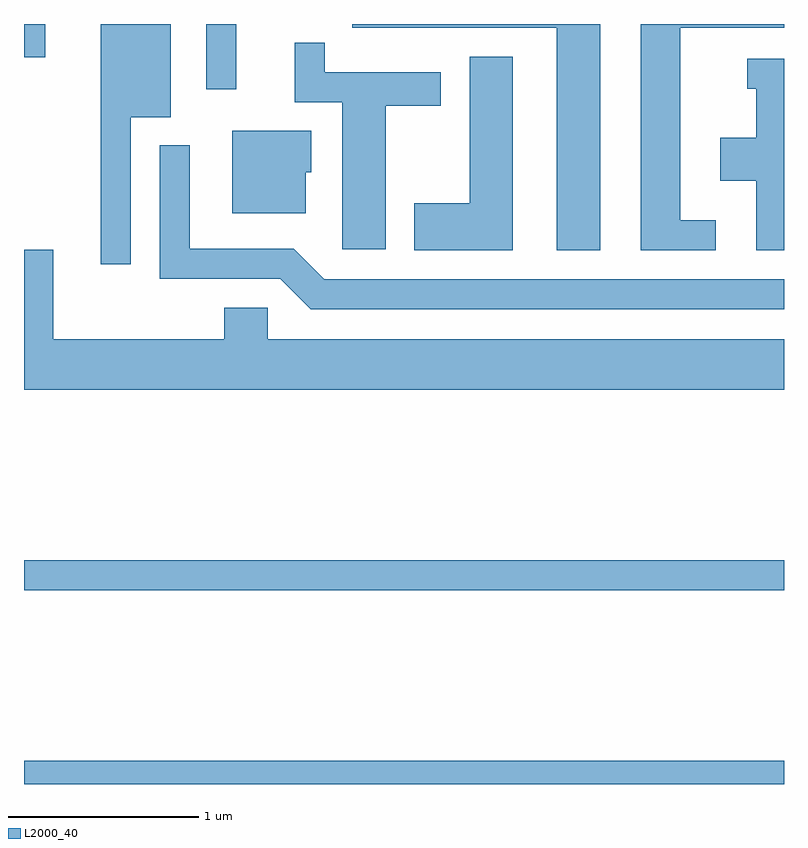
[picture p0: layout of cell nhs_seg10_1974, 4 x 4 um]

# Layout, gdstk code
import gdstk
lib = gdstk.Library(unit=1e-6, precision=1e-09)
def R(c, l, rs):  # rectangles x0, y0, x1, y1
    for r in rs: c.add(gdstk.rectangle(r[:2], r[2:], *l))
def P(c, l, *ps):  # polygons
    for p in ps: c.add(gdstk.Polygon(p, *l))
L2000_40 = (2000, 40)

nhs_seg10_1974 = lib.new_cell('nhs_seg10_1974')
R(nhs_seg10_1974, L2000_40, [(243.611,2098.522,247.611,2098.644), (243.611,2099.541,247.611,2099.699), (244.571,2102.178,244.729,2102.522), (243.611,2102.348,243.724,2102.522)])
P(nhs_seg10_1974, L2000_40, [(244.174,2102.031),(244.384,2102.031),(244.384,2102.522),(244.016,2102.522),(244.016,2101.258),(244.174,2101.258)],
  [(246.644,2102.522),(245.338,2102.522),(245.338,2102.501),(246.416,2102.501),(246.416,2101.331),(246.644,2101.331)],
  [(247.253,2101.489),(247.064,2101.489),(247.064,2102.501),(247.611,2102.501),(247.611,2102.522),(246.856,2102.522),(246.856,2101.331),(247.253,2101.331)],
  [(245.514,2102.091),(245.804,2102.091),(245.804,2102.269),(245.194,2102.269),(245.194,2102.423),(245.036,2102.423),(245.036,2102.111),(245.286,2102.111),(245.286,2101.336),(245.514,2101.336)],
  [(246.184,2102.349),(245.956,2102.349),(245.956,2101.579),(245.666,2101.579),(245.666,2101.331),(246.184,2101.331)],
  [(247.611,2102.339),(247.418,2102.339),(247.418,2102.181),(247.466,2102.181),(247.466,2101.924),(247.276,2101.924),(247.276,2101.696),(247.466,2101.696),(247.466,2101.331),(247.611,2101.331)],
  [(245.094,2101.741),(245.124,2101.741),(245.124,2101.959),(244.706,2101.959),(244.706,2101.526),(245.094,2101.526)],
  [(247.611,2101.179),(245.192,2101.179),(245.032,2101.339),(244.484,2101.339),(244.484,2101.883),(244.326,2101.883),(244.326,2101.181),(244.959,2101.181),(245.119,2101.021),(247.611,2101.021)],
  [(247.611,2100.864),(244.894,2100.864),(244.894,2101.029),(244.666,2101.029),(244.666,2100.864),(243.764,2100.864),(243.764,2101.334),(243.611,2101.334),(243.611,2100.596),(247.611,2100.596)])

lib.write_gds('nhs_seg10_1974.gds')
